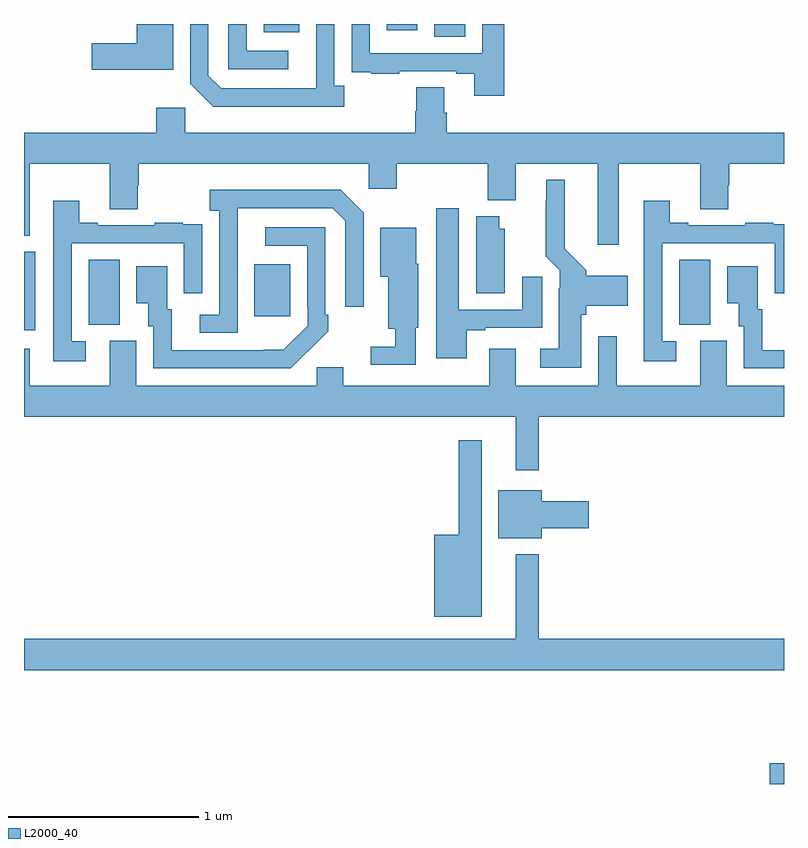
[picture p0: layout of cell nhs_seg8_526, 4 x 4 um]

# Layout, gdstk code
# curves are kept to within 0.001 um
import gdstk
lib = gdstk.Library(unit=1e-6, precision=1e-09)
def R(c, l, rs):  # rectangles x0, y0, x1, y1
    for r in rs: c.add(gdstk.rectangle(r[:2], r[2:], *l))
def P(c, l, *ps):  # polygons
    for p in ps: c.add(gdstk.Polygon(p, *l))
L2000_40 = (2000, 40)

nhs_seg8_526 = lib.new_cell('nhs_seg8_526')
R(nhs_seg8_526, L2000_40, [(148.926,1115.9,149,1116.008), (145,1118.289,145.06,1118.701), (145.34,1118.317,145.504,1118.66), (148.448,1118.317,148.612,1118.66), (146.213,1118.361,146.401,1118.635), (147.158,1119.832,147.322,1119.9), (146.261,1119.857,146.449,1119.9), (146.909,1119.867,147.07,1119.9)])
P(nhs_seg8_526, L2000_40, [(147.527,1119.9),(147.411,1119.9),(147.411,1119.747),(146.82,1119.747),(146.82,1119.9),(146.724,1119.9),(146.724,1119.754),(146.725,1119.754),(146.725,1119.645),(146.827,1119.645),(146.827,1119.639),(146.975,1119.639),(146.975,1119.651),(147.275,1119.651),(147.275,1119.639),(147.371,1119.639),(147.371,1119.522),(147.527,1119.522)],
  [(145.786,1119.9),(145.594,1119.9),(145.594,1119.8),(145.356,1119.8),(145.356,1119.658),(145.786,1119.658)],
  [(146.686,1119.574),(146.634,1119.574),(146.634,1119.9),(146.538,1119.9),(146.537,1119.561),(146.037,1119.561),(145.971,1119.627),(145.971,1119.9),(145.875,1119.9),(145.875,1119.585),(145.996,1119.464),(146.686,1119.464)],
  [(146.392,1119.759),(146.172,1119.759),(146.172,1119.9),(146.076,1119.9),(146.076,1119.663),(146.392,1119.663)],
  [(148.129,1119.164),(148.559,1119.164),(148.559,1118.926),(148.707,1118.926),(148.707,1119.051),(148.712,1119.051),(148.712,1119.164),(149,1119.164),(149,1119.328),(147.224,1119.328),(147.224,1119.434),(147.211,1119.434),(147.211,1119.566),(147.064,1119.566),(147.064,1119.441),(147.059,1119.441),(147.059,1119.328),(145.848,1119.328),(145.848,1119.46),(145.697,1119.46),(145.697,1119.328),(145,1119.328),(145,1118.786),(145.03,1118.786),(145.03,1119.164),(145.451,1119.164),(145.451,1118.926),(145.599,1118.926),(145.599,1119.051),(145.604,1119.051),(145.604,1119.164),(146.814,1119.164),(146.814,1119.033),(146.961,1119.033),(146.961,1119.164),(147.442,1119.164),(147.442,1118.972),(147.589,1118.972),(147.589,1119.164),(148.019,1119.164),(148.019,1118.739),(148.129,1118.739)],
  [(147.934,1118.37),(147.96,1118.37),(147.96,1118.417),(148.177,1118.417),(148.177,1118.575),(147.96,1118.575),(147.96,1118.603),(147.847,1118.716),(147.847,1119.079),(147.749,1119.079),(147.749,1118.969),(147.745,1118.969),(147.745,1118.678),(147.819,1118.604),(147.819,1118.51),(147.815,1118.51),(147.815,1118.191),(147.717,1118.191),(147.717,1118.09),(147.934,1118.09)],
  [(146.124,1118.731),(146.125,1118.931),(146.625,1118.931),(146.691,1118.865),(146.691,1118.412),(146.787,1118.412),(146.787,1118.907),(146.666,1119.028),(145.977,1119.028),(145.977,1118.918),(146.028,1118.918),(146.028,1118.37),(145.926,1118.37),(145.926,1118.274),(146.124,1118.274)],
  [(145.324,1118.229),(145.251,1118.229),(145.251,1118.745),(145.842,1118.745),(145.842,1118.484),(145.938,1118.484),(145.938,1118.738),(145.937,1118.738),(145.937,1118.847),(145.835,1118.847),(145.835,1118.854),(145.687,1118.854),(145.687,1118.841),(145.387,1118.841),(145.387,1118.854),(145.291,1118.854),(145.291,1118.971),(145.155,1118.971),(145.155,1118.124),(145.324,1118.124)],
  [(148.432,1118.229),(148.359,1118.229),(148.359,1118.745),(148.95,1118.745),(148.95,1118.484),(149,1118.484),(149,1118.847),(148.943,1118.847),(148.943,1118.854),(148.795,1118.854),(148.795,1118.841),(148.495,1118.841),(148.495,1118.854),(148.399,1118.854),(148.399,1118.971),(148.262,1118.971),(148.262,1118.748),(148.263,1118.748),(148.263,1118.124),(148.432,1118.124)],
  [(147.331,1118.289),(147.427,1118.289),(147.427,1118.301),(147.727,1118.301),(147.727,1118.569),(147.623,1118.569),(147.623,1118.397),(147.289,1118.397),(147.289,1118.929),(147.17,1118.929),(147.17,1118.142),(147.331,1118.142)],
  [(147.529,1118.823),(147.502,1118.823),(147.502,1118.887),(147.38,1118.887),(147.38,1118.482),(147.529,1118.482)],
  [(146.495,1118.179),(146.496,1118.178),(146.601,1118.283),(146.601,1118.371),(146.586,1118.371),(146.586,1118.829),(146.271,1118.829),(146.271,1118.733),(146.49,1118.733),(146.49,1118.413),(146.493,1118.413),(146.493,1118.313),(146.365,1118.185),(145.777,1118.184),(145.777,1118.4),(145.753,1118.4),(145.753,1118.626),(145.592,1118.626),(145.592,1118.429),(145.655,1118.429),(145.655,1118.31),(145.68,1118.31),(145.68,1118.088),(146.404,1118.088)],
  [(147.063,1118.301),(147.076,1118.301),(147.076,1118.637),(147.064,1118.637),(147.064,1118.827),(146.876,1118.827),(146.876,1118.57),(146.918,1118.57),(146.918,1118.297),(146.955,1118.297),(146.955,1118.202),(146.826,1118.202),(146.826,1118.106),(147.063,1118.106)],
  [(149,1118.184),(148.885,1118.184),(148.885,1118.4),(148.861,1118.4),(148.861,1118.626),(148.7,1118.626),(148.7,1118.429),(148.763,1118.429),(148.763,1118.31),(148.788,1118.31),(148.788,1118.088),(149,1118.088)],
  [(147.709,1117.832),(149,1117.832),(149,1117.996),(148.699,1117.996),(148.699,1118.232),(148.559,1118.232),(148.559,1117.996),(148.12,1117.996),(148.12,1118.257),(148.023,1118.257),(148.023,1117.996),(147.589,1117.996),(147.589,1118.191),(147.449,1118.191),(147.449,1117.996),(146.68,1117.996),(146.68,1118.094),(146.541,1118.094),(146.541,1117.996),(145.591,1117.996),(145.591,1118.232),(145.451,1118.232),(145.451,1117.996),(145.03,1117.996),(145.03,1118.191),(145,1118.191),(145,1117.832),(147.587,1117.832),(147.587,1117.551),(147.709,1117.551)],
  [(147.409,1117.708),(147.288,1117.708),(147.288,1117.213),(147.158,1117.213),(147.158,1116.779),(147.409,1116.779)],
  [(147.724,1117.247),(147.973,1117.247),(147.973,1117.389),(147.724,1117.389),(147.724,1117.447),(147.497,1117.447),(147.497,1117.193),(147.724,1117.193)],
  [(149,1116.664),(147.709,1116.664),(147.709,1117.108),(147.587,1117.108),(147.587,1116.664),(145,1116.664),(145,1116.5),(149,1116.5)])

lib.write_gds('nhs_seg8_526.gds')
